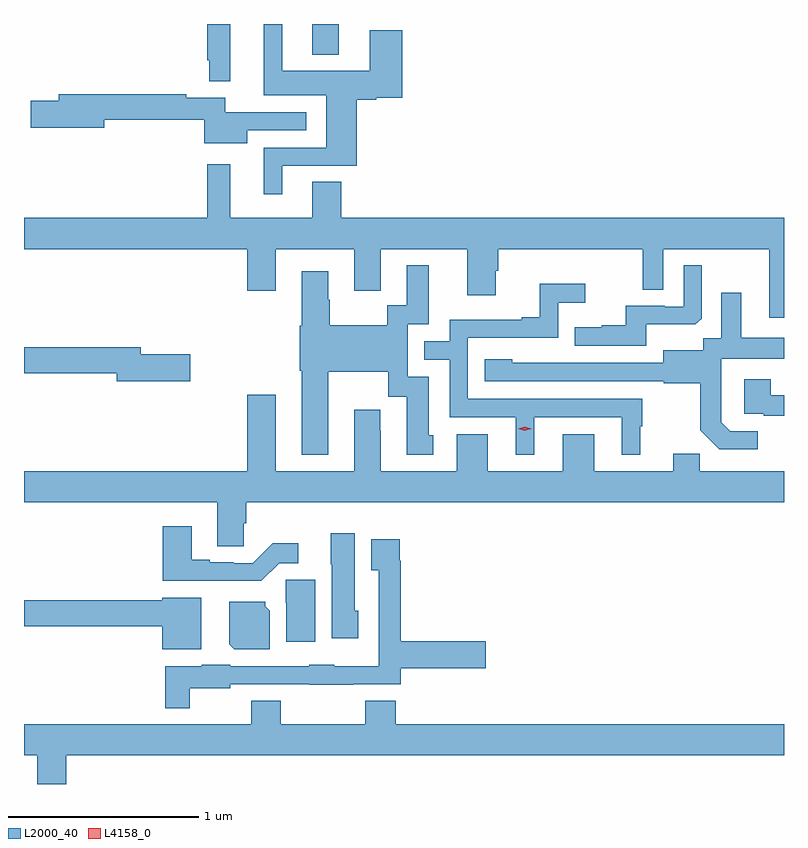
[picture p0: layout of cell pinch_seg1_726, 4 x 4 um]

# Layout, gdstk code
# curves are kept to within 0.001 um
import gdstk
lib = gdstk.Library(unit=1e-6, precision=1e-09)
def R(c, l, rs):  # rectangles x0, y0, x1, y1
    for r in rs: c.add(gdstk.rectangle(r[:2], r[2:], *l))
def P(c, l, *ps):  # polygons
    for p in ps: c.add(gdstk.Polygon(p, *l))
L2000_40 = (2000, 40)
L4158_0 = (4158, 0)

pinch_seg1_726 = lib.new_cell('pinch_seg1_726')
R(pinch_seg1_726, L2000_40, [(730.475,540.767,730.615,540.929)])
P(pinch_seg1_726, L2000_40, [(730.045,540.929),(729.924,540.929),(729.924,540.739),(729.934,540.739),(729.934,540.627),(730.045,540.627)],
  [(730.318,540.183),(730.709,540.183),(730.709,540.53),(730.812,540.53),(730.812,540.542),(730.949,540.542),(730.949,540.895),(730.778,540.895),(730.778,540.682),(730.318,540.682),(730.318,540.929),(730.22,540.929),(730.22,540.554),(730.55,540.554),(730.55,540.279),(730.22,540.279),(730.22,540.033),(730.318,540.033)],
  [(730.135,540.369),(730.444,540.369),(730.444,540.465),(730.018,540.465),(730.018,540.54),(729.812,540.54),(729.812,540.56),(729.143,540.56),(729.143,540.524),(728.994,540.524),(728.994,540.382),(729.382,540.382),(729.382,540.424),(729.908,540.424),(729.908,540.302),(730.135,540.302)],
  [(732.959,539.908),(730.628,539.908),(730.628,540.098),(730.475,540.098),(730.475,539.908),(730.045,539.908),(730.045,540.19),(729.924,540.19),(729.924,539.908),(728.959,539.908),(728.959,539.744),(730.133,539.744),(730.133,539.526),(730.285,539.526),(730.285,539.744),(730.697,539.744),(730.697,539.526),(730.837,539.526),(730.837,539.744),(731.291,539.744),(731.291,539.502),(731.443,539.502),(731.443,539.631),(731.456,539.631),(731.456,539.744),(732.216,539.744),(732.216,539.53),(732.324,539.53),(732.324,539.744),(732.881,539.744),(732.881,539.382),(732.959,539.382)],
  [(732.235,539.348),(732.493,539.348),(732.525,539.379),(732.525,539.659),(732.432,539.659),(732.432,539.442),(732.332,539.442),(732.332,539.445),(732.125,539.445),(732.125,539.344),(732.001,539.344),(732.001,539.332),(731.857,539.332),(731.857,539.235),(732.235,539.235)],
  [(730.561,539.099),(730.877,539.099),(730.877,538.968),(730.973,538.968),(730.973,538.662),(731.113,538.662),(731.113,538.764),(731.089,538.764),(731.089,539.073),(730.98,539.073),(730.98,539.349),(731.089,539.349),(731.089,539.659),(730.973,539.659),(730.973,539.45),(730.872,539.45),(730.872,539.344),(730.569,539.344),(730.569,539.478),(730.561,539.478),(730.561,539.629),(730.421,539.629),(730.421,539.34),(730.409,539.34),(730.409,539.103),(730.421,539.103),(730.421,538.661),(730.561,538.661)],
  [(731.644,538.86),(732.104,538.86),(732.104,538.661),(732.202,538.661),(732.202,538.812),(732.214,538.812),(732.214,538.956),(731.295,538.956),(731.295,539.277),(731.772,539.277),(731.772,539.462),(731.914,539.462),(731.914,539.561),(731.674,539.561),(731.674,539.386),(731.579,539.386),(731.579,539.373),(731.199,539.373),(731.199,539.259),(731.065,539.259),(731.065,539.163),(731.199,539.163),(731.199,538.86),(731.546,538.86),(731.546,538.661),(731.644,538.661)],
  [(732.82,538.785),(732.675,538.785),(732.628,538.832),(732.628,538.927),(732.63,538.927),(732.63,539.168),(732.959,539.168),(732.959,539.278),(732.733,539.278),(732.733,539.515),(732.629,539.515),(732.629,539.276),(732.534,539.276),(732.534,539.212),(732.323,539.212),(732.323,539.145),(731.529,539.146),(731.529,539.164),(731.385,539.164),(731.385,539.049),(732.327,539.049),(732.327,539.037),(732.519,539.037),(732.519,538.791),(732.619,538.691),(732.82,538.691)],
  [(729.835,539.192),(729.574,539.192),(729.574,539.228),(728.959,539.228),(728.959,539.092),(729.446,539.092),(729.446,539.05),(729.835,539.05)],
  [(732.959,538.974),(732.889,538.974),(732.889,539.059),(732.749,539.059),(732.749,538.878),(732.853,538.878),(732.853,538.866),(732.959,538.866)],
  [(730.116,538.302),(730.13,538.302),(730.13,538.412),(732.959,538.412),(732.959,538.576),(732.515,538.576),(732.515,538.667),(732.377,538.667),(732.377,538.576),(731.959,538.576),(731.959,538.771),(731.795,538.771),(731.795,538.576),(731.401,538.576),(731.401,538.771),(731.237,538.771),(731.237,538.576),(730.837,538.576),(730.837,538.787),(730.834,538.787),(730.834,538.9),(730.697,538.9),(730.697,538.576),(730.285,538.576),(730.285,538.978),(730.133,538.978),(730.133,538.576),(728.959,538.576),(728.959,538.412),(729.977,538.412),(729.977,538.18),(730.116,538.18)],
  [(730.302,538.092),(730.402,538.092),(730.402,538.195),(730.267,538.195),(730.164,538.092),(730.064,538.092),(730.064,538.095),(729.937,538.095),(729.937,538.108),(729.841,538.108),(729.841,538.285),(729.689,538.285),(729.689,537.998),(730.208,537.998)],
  [(730.717,537.84),(730.699,537.84),(730.699,538.249),(730.574,538.249),(730.574,538.086),(730.58,538.086),(730.58,537.696),(730.717,537.696)],
  [(729.832,537.434),(730.044,537.434),(730.044,537.453),(730.461,537.453),(730.461,537.452),(730.693,537.452),(730.693,537.453),(730.943,537.453),(730.943,537.538),(731.389,537.538),(731.389,537.68),(730.943,537.68),(730.943,538.103),(730.936,538.103),(730.936,538.216),(730.787,538.216),(730.787,538.055),(730.827,538.055),(730.827,537.55),(730.593,537.55),(730.593,537.556),(730.461,537.556),(730.461,537.549),(730.044,537.549),(730.044,537.556),(729.894,537.556),(729.894,537.55),(729.703,537.55),(729.703,537.329),(729.832,537.329)],
  [(730.492,538.005),(730.336,538.005),(730.336,537.882),(730.34,537.882),(730.34,537.678),(730.492,537.678)],
  [(729.892,537.91),(729.686,537.91),(729.686,537.896),(728.959,537.896),(728.959,537.76),(729.686,537.76),(729.686,537.638),(729.892,537.638)],
  [(730.252,537.842),(730.23,537.864),(730.23,537.889),(730.04,537.889),(730.04,537.664),(730.066,537.638),(730.252,537.638)],
  [(729.182,537.08),(732.959,537.08),(732.959,537.244),(730.916,537.244),(730.916,537.368),(730.756,537.368),(730.756,537.244),(730.311,537.244),(730.311,537.368),(730.156,537.368),(730.156,537.244),(728.959,537.244),(728.959,537.08),(729.029,537.08),(729.029,536.929),(729.182,536.929)])
P(pinch_seg1_726, L4158_0, [(731.595,538.788),(731.56,538.798),(731.559,538.798),(731.56,538.798),(731.595,538.808),(731.63,538.798),(731.631,538.798),(731.63,538.798)])

lib.write_gds('pinch_seg1_726.gds')
